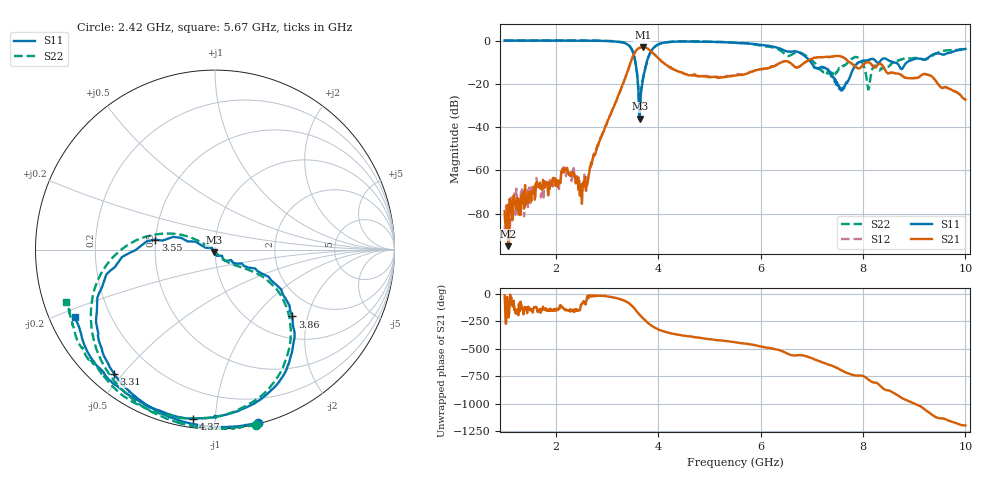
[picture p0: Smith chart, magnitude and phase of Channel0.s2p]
!Agilent Technologies,N5227A,US51270477,A.10.00.00
!File generated by LCAF-GAM-UPV software
!josevmart@iteam.upv.es
!S2P File: Measurements: S11, S21, S12, S22:
# Hz S  dB  R 50
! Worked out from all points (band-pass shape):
!   901 points, 1 GHz to 10 GHz, reference 50 ohm
!   highest |S21| = -3.09 dB at 3.7 GHz (marker M1); lowest = -95.1 dB at 1.07 GHz (marker M2)
!   |S21| within 3 dB of the highest: 3.532 GHz to 3.911 GHz (379.3 MHz wide, 10.2 % of centre)
!   lowest |S11| = -36.1 dB at 3.64 GHz (marker M3), VSWR 1.03, Z = 49.6 - j1.5 ohm
!   |S11| at or under -10 dB: 3.555 GHz to 3.776 GHz (220.8 MHz wide, 6.02 % of centre); 6.98 GHz to 7.927 GHz (946.8 MHz wide, 12.7 % of centre); 8.591 GHz to 8.862 GHz (271.8 MHz wide, 3.12 % of centre)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
!   |S22| runs from -36.4 to 0.0 dB; largest |S21 - S12| = 0.044
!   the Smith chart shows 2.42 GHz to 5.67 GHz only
!   S11 on the Smith chart (normalised r, x): 2.42 GHz: 0.01, -1.28; 3.31 GHz: 0.07, -0.47; 3.55 GHz: 0.50, +0.06; 3.86 GHz: 1.46, -1.61; 4.37 GHz: 0.04, -0.88; 5.67 GHz: 0.07, -0.23
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1e9  0.00 -30.1  -78.81 -15.4  -89.29 0.6  0.02 -30.5
1.07e9  0.00 -32.3  -95.07 -152.1  -78.39 -94.0  0.02 -33.1
2.15e9  -0.02 -66.3  -61.06 -134.4  -58.47 -142.8  0.03 -67.5
2.42e9  -0.05 -76.0  -62.98 -148.4  -63.73 -168.2  0.02 -76.7
2.5e9  -0.06 -78.6  -68.73 -100.5  -67.87 -137.9  0.01 -79.8
3.31e9  -0.98 -129.1  -19.96 -61.0  -20.35 -58.4  -0.80 -129.8
3.55e9  -9.44 170.5  -5.26 -143.9  -5.28 -141.7  -9.31 165.7
3.64e9  -36.11 -104.5  -3.31 166.3  -3.29 168.6  -34.29 -72.1
3.7e9  -18.19 -36.3  -3.09 137.9  -3.04 139.4  -17.80 -40.1
3.86e9  -4.90 -40.8  -5.03 71.7  -4.89 73.1  -5.03 -42.3
4e9  -1.73 -64.3  -8.15 34.4  -8.12 34.6  -1.85 -66.0
4.37e9  -0.44 -97.5  -14.05 -12.0  -14.05 -11.4  -0.43 -99.3
5.5e9  -1.09 -147.7  -16.19 -81.8  -16.01 -82.9  -0.98 -153.0
5.67e9  -1.23 -154.3  -15.77 -91.7  -15.71 -92.3  -1.14 -160.7
7e9  -10.64 128.0  -8.46 133.9  -8.41 134.0  -9.17 128.0
7.58e9  -22.35 161.3  -7.44 24.6  -7.44 25.0  -12.28 169.7
7.91e9  -10.11 -175.8  -12.93 -23.9  -12.75 -24.0  -7.92 120.8
8.11e9  -9.16 154.9  -10.03 -61.7  -10.06 -62.1  -22.52 130.8
8.21e9  -8.67 136.9  -12.17 -85.9  -12.21 -86.5  -11.87 141.9
8.5e9  -9.16 99.8  -15.13 -157.6  -15.13 -158.8  -12.04 116.8
9.4e9  -6.12 22.4  -17.99 -34.6  -18.03 -35.3  -6.34 28.4
1e10  -3.87 -31.9  -27.31 -115.7  -27.43 -116.6  -3.58 -40.4
